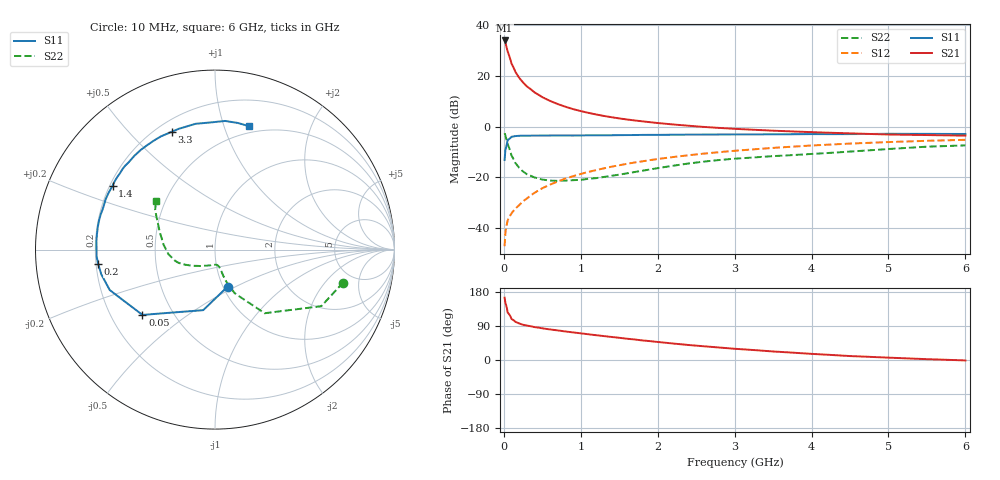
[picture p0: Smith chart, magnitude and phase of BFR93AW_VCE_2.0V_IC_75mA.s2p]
! Infineon Technologies  Discrete & RF Semiconductors
! BFR93AW
! VCE =  2.0 V,  IC =  75 mA
! Common Emitter S-Parameters:  Jan 2017
# GHz  S  MA  R  50
!  f  S11  S21  S12  S22
! GHz  MAG  ANG  MAG  ANG  MAG  ANG  MAG  ANG
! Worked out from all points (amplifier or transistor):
!   77 points, 10 MHz to 6 GHz, reference 50 ohm
!   highest |S21| = 34.1 dB at 10 MHz (marker M1)
!   |S21| within 3 dB of that: start of sweep to 38.04 MHz
!   unconditionally stable (mu >= 1): 146.6 MHz to end of sweep
!   at 130 MHz: K = 0.94, MSG = 28.1 dB, |S12| = -33.2 dB
!   at 2.2 GHz: K = 1.13, MAG = 4.3 dB, |S12| = -12.1 dB
!   at 6 GHz: K = 1.02, MAG = 0.0 dB, |S12| = -5.3 dB
!   S11 on the Smith chart (normalised r, x): 10 MHz: 1.05, -0.45; 50 MHz: 0.33, -0.35; 200 MHz: 0.21, -0.06; 1.4 GHz: 0.21, +0.27; 3.3 GHz: 0.26, +0.67; 6 GHz: 0.43, +1.21
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0.01  0.2177 -71.0  50.47 164.5  0.0043 64.4  0.7372 -14.4
0.02  0.3437 -101.0  46.13 151.0  0.0079 63.3  0.6709 -28.0
0.05  0.544 -138.0  30.39 125.0  0.0139 52.1  0.4494 -52.1
0.1  0.6283 -159.0  17.57 108.1  0.0192 52.8  0.2669 -65.7
0.15  0.6485 -167.8  12.1 100.8  0.0238 57.2  0.1905 -70.5
0.2  0.6559 -173.0  9.199 96.4  0.0279 62.6  0.1523 -72.5
0.25  0.6605 -176.7  7.425 93.0  0.0333 65.1  0.1288 -73.4
0.3  0.6599 -179.6  6.212 90.8  0.0377 66.8  0.1139 -74.4
0.4  0.6624 175.9  4.724 86.8  0.0489 70.1  0.0983 -76.7
0.5  0.6634 172.2  3.813 83.6  0.0603 71.1  0.0894 -80.1
0.6  0.6651 168.9  3.217 80.7  0.0709 71.7  0.0853 -84.2
0.7  0.666 166.1  2.787 78.1  0.0816 72.0  0.0841 -88.4
0.9  0.6648 160.4  2.212 72.8  0.1042 71.8  0.0869 -97.7
1.1  0.6706 155.2  1.865 67.9  0.1266 70.7  0.0926 -107.6
1.4  0.6726 148.0  1.531 60.8  0.1605 68.2  0.1062 -122.0
1.7  0.6791 141.2  1.32 54.1  0.1944 65.3  0.126 -133.5
2.1  0.6862 132.7  1.136 45.6  0.2383 60.9  0.1589 -146.0
3.1  0.6984 113.8  0.886 28.3  0.3404 49.0  0.2365 -166.5
3.3  0.6992 110.2  0.856 25.5  0.359 46.6  0.2477 -170.5
4.1  0.7083 97.4  0.766 15.1  0.4293 37.0  0.2926 172.3
5.1  0.7179 84.3  0.692 5.4  0.4987 25.1  0.3671 151.9
6  0.7131 74.8  0.661 -1.1  0.5461 15.2  0.4243 140.7
